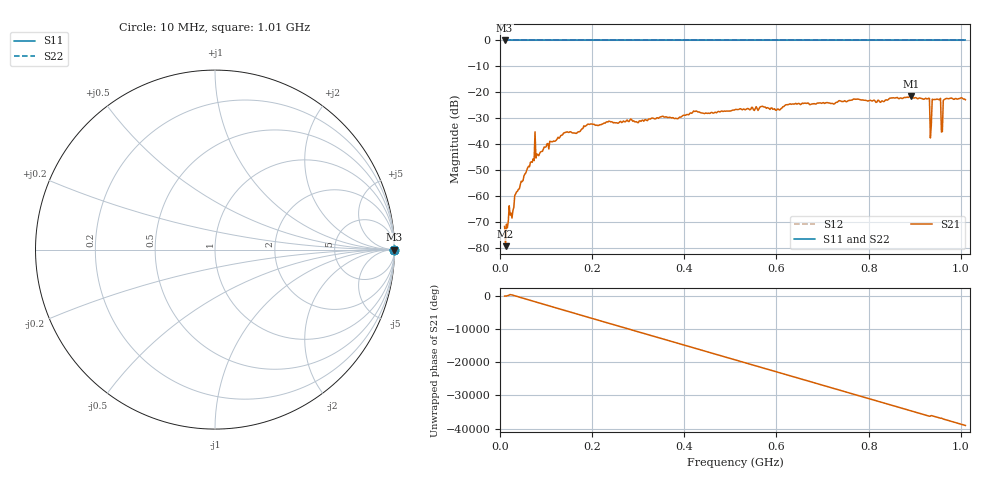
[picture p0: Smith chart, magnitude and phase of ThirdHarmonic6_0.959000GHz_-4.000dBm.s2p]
! 8/16/2025 7:04:20 AM
! C:\ANRITSUVNA\TEMP\TEMP.S2P
! CHANNEL.1
! TR.MEASUREMENT
! RAW.DATA
! RF.CORRECTION.OFF
! AVERAGING.OFF
! IF.BANDWIDTH: 5KHZ
! SWEEPTYPE:  FREQ.SWEEP(Linear)
! Reference Plane Port Info
! PORT:  PORT1  PORT2
! DISTANCE:  0  m  0  m
! TIME:  0  s  0  s
! PHASE.OFFSET:  0  deg.  0  deg.
! LOSS:  0  dB  0  dB
! REF.LOSS:  0  dB  0  dB
! REF.FREQ:  0  Hz  0  Hz
! Power Info
! POWER:  -20  dBm  -20  dBm
! EFF.POWER:  -20  dBm  -20  dBm
! SOURCE.ATTEN:  0  dB  0  dB
! TEST.ATTEN:  0  dB  0  dB
# GHZ S RI R 50.0
! FREQ.GHZ  S11RE  S11IM  S21RE  S21IM  S12RE  S12IM  S22RE  S22IM
!; PortSelection: Port_12
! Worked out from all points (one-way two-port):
!   501 points, 10 MHz to 1.01 GHz, reference 50 ohm
!   highest |S21| = -21.49 dB at 892 MHz (marker M1); lowest = -79.5 dB at 12 MHz (marker M2)
!   lowest |S11| = 0.0 dB at 10 MHz (marker M3)
!   |S11| at or under -10 dB: nowhere
!   |S22| runs from 0.0 to 0.0 dB; largest |S21 - S12| = 1.1
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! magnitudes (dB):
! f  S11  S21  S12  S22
! 10 MHz  0.0  -71.8  0.0  0.0
! 12 MHz  0.0  -79.5  0.0  0.0
! 26 MHz  0.0  -68.6  0.0  0.0
! 36 MHz  0.0  -58.5  0.0  0.0
! 70 MHz  0.0  -47.1  0.0  0.0
! 72 MHz  0.0  -45.7  0.0  0.0
! 142 MHz  0.0  -35.5  0.0  0.0
! 178 MHz  0.0  -34.2  0.0  0.0
! 344 MHz  0.0  -30.1  0.0  0.0
! 510 MHz  0.0  -26.7  0.0  0.0
! 678 MHz  0.0  -24.5  0.0  0.0
! 844 MHz  0.0  -22.6  0.0  0.0
! 892 MHz  0.0  -21.5  0.0  0.0
! 928 MHz  0.0  -22.6  0.0  0.0
! 932 MHz  0.0  -22.4  0.0  0.0
! 938 MHz  0.0  -22.7  0.0  0.0
! 942 MHz  0.0  -22.8  0.0  0.0
! 952 MHz  0.0  -22.9  0.0  0.0
! 956 MHz  0.0  -22.4  0.0  0.0
! 962 MHz  0.0  -23.2  0.0  0.0
! 966 MHz  0.0  -22.6  0.0  0.0
! 1.01 GHz  0.0  -22.9  0.0  0.0
